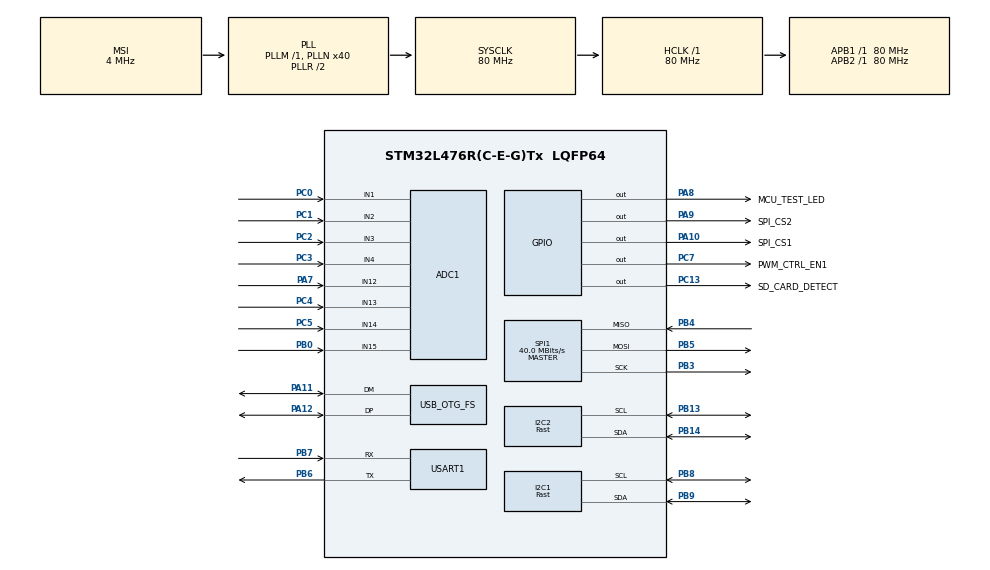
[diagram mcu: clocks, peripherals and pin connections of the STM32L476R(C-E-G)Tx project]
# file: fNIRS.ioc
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ADC1.Channel-0\#ChannelRegularConversion=ADC_CHANNEL_15
ADC1.Channel-10\#ChannelRegularConversion=ADC_CHANNEL_2
ADC1.Channel-4\#ChannelRegularConversion=ADC_CHANNEL_14
ADC1.Channel-5\#ChannelRegularConversion=ADC_CHANNEL_13
ADC1.Channel-6\#ChannelRegularConversion=ADC_CHANNEL_12
ADC1.Channel-7\#ChannelRegularConversion=ADC_CHANNEL_4
ADC1.Channel-8\#ChannelRegularConversion=ADC_CHANNEL_3
ADC1.Channel-9\#ChannelRegularConversion=ADC_CHANNEL_1
ADC1.ContinuousConvMode=DISABLE
ADC1.DMAContinuousRequests=ENABLE
ADC1.EOCSelection=ADC_EOC_SEQ_CONV
ADC1.ExternalTrigConv=ADC_EXTERNALTRIG_T3_TRGO
ADC1.NbrOfConversion=8
ADC1.NbrOfConversionFlag=1
ADC1.OffsetNumber-0\#ChannelRegularConversion=ADC_OFFSET_NONE
ADC1.OffsetNumber-10\#ChannelRegularConversion=ADC_OFFSET_NONE
ADC1.OffsetNumber-4\#ChannelRegularConversion=ADC_OFFSET_NONE
ADC1.OffsetNumber-5\#ChannelRegularConversion=ADC_OFFSET_NONE
ADC1.OffsetNumber-6\#ChannelRegularConversion=ADC_OFFSET_NONE
ADC1.OffsetNumber-7\#ChannelRegularConversion=ADC_OFFSET_NONE
ADC1.OffsetNumber-8\#ChannelRegularConversion=ADC_OFFSET_NONE
ADC1.OffsetNumber-9\#ChannelRegularConversion=ADC_OFFSET_NONE
ADC1.Overrun=ADC_OVR_DATA_PRESERVED
ADC1.Rank-0\#ChannelRegularConversion=1
ADC1.Rank-10\#ChannelRegularConversion=8
ADC1.Rank-4\#ChannelRegularConversion=2
ADC1.Rank-5\#ChannelRegularConversion=3
ADC1.Rank-6\#ChannelRegularConversion=4
ADC1.Rank-7\#ChannelRegularConversion=5
ADC1.Rank-8\#ChannelRegularConversion=6
ADC1.Rank-9\#ChannelRegularConversion=7
ADC1.SamplingTime-0\#ChannelRegularConversion=ADC_SAMPLETIME_47CYCLES_5
ADC1.SamplingTime-10\#ChannelRegularConversion=ADC_SAMPLETIME_47CYCLES_5
ADC1.SamplingTime-4\#ChannelRegularConversion=ADC_SAMPLETIME_47CYCLES_5
ADC1.SamplingTime-5\#ChannelRegularConversion=ADC_SAMPLETIME_47CYCLES_5
ADC1.SamplingTime-6\#ChannelRegularConversion=ADC_SAMPLETIME_47CYCLES_5
ADC1.SamplingTime-7\#ChannelRegularConversion=ADC_SAMPLETIME_47CYCLES_5
ADC1.SamplingTime-8\#ChannelRegularConversion=ADC_SAMPLETIME_47CYCLES_5
ADC1.SamplingTime-9\#ChannelRegularConversion=ADC_SAMPLETIME_47CYCLES_5
ADC1.master=1
Dma.ADC1.0.Direction=DMA_PERIPH_TO_MEMORY
Dma.ADC1.0.Instance=DMA1_Channel1
Dma.ADC1.0.MemDataAlignment=DMA_MDATAALIGN_HALFWORD
Dma.ADC1.0.MemInc=DMA_MINC_ENABLE
Dma.ADC1.0.Mode=DMA_CIRCULAR
Dma.ADC1.0.PeriphDataAlignment=DMA_PDATAALIGN_HALFWORD
Dma.ADC1.0.PeriphInc=DMA_PINC_DISABLE
Dma.ADC1.0.Priority=DMA_PRIORITY_HIGH
Dma.Request0=ADC1
I2C1.I2C_Speed_Mode=I2C_Fast
I2C1.Timing=0x00F12981
I2C2.I2C_Speed_Mode=I2C_Fast
I2C2.Timing=0x00F12981
Mcu.Family=STM32L4
Mcu.Name=STM32L476R(C-E-G)Tx
Mcu.Package=LQFP64
NVIC.ADC1_2_IRQn=true\:0\:0\:true\:false\:true\:true\:true\:true
NVIC.DMA1_Channel1_IRQn=true\:0\:0\:true\:false\:true\:false\:true\:true
NVIC.OTG_FS_IRQn=true\:0\:0\:true\:false\:true\:false\:true\:true
NVIC.PriorityGroup=NVIC_PRIORITYGROUP_4
NVIC.TIM4_IRQn=true\:1\:0\:true\:false\:true\:true\:true\:true
PA10.GPIO_Label=SPI_CS1
PA10.Signal=GPIO_Output
PA11.Mode=Device_Only
PA11.Signal=USB_OTG_FS_DM
PA12.Mode=Device_Only
PA12.Signal=USB_OTG_FS_DP
PA13\ (JTMS-SWDIO).Mode=Serial_Wire
PA13\ (JTMS-SWDIO).Signal=SYS_JTMS-SWDIO
PA14\ (JTCK-SWCLK).Mode=Serial_Wire
PA14\ (JTCK-SWCLK).Signal=SYS_JTCK-SWCLK
PA7.Signal=ADCx_IN12
PA8.GPIO_Label=MCU_TEST_LED
PA8.Signal=GPIO_Output
PA9.GPIO_Label=SPI_CS2
PA9.Signal=GPIO_Output
PB0.Signal=ADCx_IN15
PB13.Mode=I2C
PB13.Signal=I2C2_SCL
PB14.Mode=I2C
PB14.Signal=I2C2_SDA
PB3\ (JTDO-TRACESWO).Mode=Full_Duplex_Master
PB3\ (JTDO-TRACESWO).Signal=SPI1_SCK
PB4\ (NJTRST).Mode=Full_Duplex_Master
PB4\ (NJTRST).Signal=SPI1_MISO
PB5.Mode=Full_Duplex_Master
PB5.Signal=SPI1_MOSI
PB6.Mode=Asynchronous
PB6.Signal=USART1_TX
PB7.Mode=Asynchronous
PB7.Signal=USART1_RX
PB8.Mode=I2C
PB8.Signal=I2C1_SCL
PB9.Mode=I2C
PB9.Signal=I2C1_SDA
PC0.Signal=ADCx_IN1
PC1.Signal=ADCx_IN2
PC13.GPIO_Label=SD_CARD_DETECT
PC13.Signal=GPIO_Output
PC2.Signal=ADCx_IN3
PC3.Signal=ADCx_IN4
PC4.Signal=ADCx_IN13
PC5.Signal=ADCx_IN14
PC7.GPIO_Label=PWM_CTRL_EN1
PC7.GPIO_ModeDefaultOutputPP=GPIO_MODE_OUTPUT_PP
PC7.Signal=GPIO_Output
ProjectManager.HeapSize=0x200
ProjectManager.StackSize=0x400
ProjectManager.TargetToolchain=STM32CubeIDE
RCC.ADCFreq_Value=48000000
RCC.AHBFreq_Value=80000000
RCC.APB1Freq_Value=80000000
RCC.APB1TimFreq_Value=80000000
RCC.APB2Freq_Value=80000000
RCC.APB2TimFreq_Value=80000000
RCC.CortexFreq_Value=80000000
RCC.HCLKFreq_Value=80000000
RCC.HSE_VALUE=8000000
RCC.HSI_VALUE=16000000
RCC.LSE_VALUE=32768
RCC.MSI_VALUE=4000000
RCC.PLLN=40
RCC.PLLSAI1N=24
RCC.SYSCLKFreq_VALUE=80000000
RCC.SYSCLKSource=RCC_SYSCLKSOURCE_PLLCLK
RCC.USBFreq_Value=48000000
RCC.VCOOutputFreq_Value=160000000
SH.ADCx_IN1.0=ADC1_IN1,IN1-Single-Ended
SH.ADCx_IN12.0=ADC1_IN12,IN12-Single-Ended
SH.ADCx_IN13.0=ADC1_IN13,IN13-Single-Ended
SH.ADCx_IN14.0=ADC1_IN14,IN14-Single-Ended
SH.ADCx_IN15.0=ADC1_IN15,IN15-Single-Ended
SH.ADCx_IN2.0=ADC1_IN2,IN2-Single-Ended
SH.ADCx_IN3.0=ADC1_IN3,IN3-Single-Ended
SH.ADCx_IN4.0=ADC1_IN4,IN4-Single-Ended
SPI1.CalculateBaudRate=40.0 MBits/s
SPI1.Direction=SPI_DIRECTION_2LINES
SPI1.Mode=SPI_MODE_MASTER
SPI1.VirtualType=VM_MASTER
TIM3.AutoReloadPreload=TIM_AUTORELOAD_PRELOAD_ENABLE
TIM3.Period=15999
TIM3.Prescaler=0
TIM3.TIM_MasterOutputTrigger=TIM_TRGO_UPDATE
TIM4.AutoReloadPreload=TIM_AUTORELOAD_PRELOAD_ENABLE
TIM4.Period=99
TIM4.Prescaler=7999
TIM4.TIM_MasterOutputTrigger=TIM_TRGO_RESET
USART1.VirtualMode-Asynchronous=VM_ASYNC
USB_DEVICE.CLASS_NAME_FS=CDC
USB_DEVICE.VirtualMode=Cdc
USB_DEVICE.VirtualModeFS=Cdc_FS
USB_OTG_FS.VirtualMode=Device_Only
VP_TIM3_VS_ClockSourceINT.Mode=Internal
VP_TIM4_VS_ClockSourceINT.Mode=Internal
VP_USB_DEVICE_VS_USB_DEVICE_CDC_FS.Mode=CDC_FS
board=custom

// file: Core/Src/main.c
/* USER CODE BEGIN Header */
/**
  ******************************************************************************
  * @file           : main.c
  * @brief          : Main program body
  ******************************************************************************
  * @attention
  *
  * Copyright (c) 2024 STMicroelectronics.
  * All rights reserved.
  *
  * This software is licensed under terms that can be found in the LICENSE file
  * in the root directory of this software component.
  * If no LICENSE file comes with this software, it is provided AS-IS.
  *
  ******************************************************************************
  */
/* USER CODE END Header */
#include "main.h"
#include "usb_device.h"

/* USER CODE BEGIN Includes */
#include "mux_control.h"
#include "emitter_control.h"
#include "sensing.h"
#include "usbd_cdc_if.h"
#include "misc.h"
#include "serial_interface.h"

/* USER CODE END Includes */

ADC_HandleTypeDef hadc1;
DMA_HandleTypeDef hdma_adc1;

I2C_HandleTypeDef hi2c1;
I2C_HandleTypeDef hi2c2;

SPI_HandleTypeDef hspi1;

TIM_HandleTypeDef htim3;
TIM_HandleTypeDef htim4;

UART_HandleTypeDef huart1;

void SystemClock_Config(void);
void PeriphCommonClock_Config(void);
static void MX_GPIO_Init(void);
static void MX_DMA_Init(void);
static void MX_ADC1_Init(void);
static void MX_I2C1_Init(void);
static void MX_I2C2_Init(void);
static void MX_SPI1_Init(void);
static void MX_USART1_UART_Init(void);
static void MX_TIM3_Init(void);
static void MX_TIM4_Init(void);

/* USER CODE BEGIN 0 */
uint8_t usb_receive_buffer[64];
/* USER CODE END 0 */

int main(void)
{

  /* MCU Configuration--------------------------------------------------------*/

  /* Reset of all peripherals, Initializes the Flash interface and the Systick. */
  HAL_Init();

  /* Configure the system clock */
  SystemClock_Config();

  /* Configure the peripherals common clocks */
  PeriphCommonClock_Config();

  /* Initialize all configured peripherals */
  MX_GPIO_Init();
  MX_DMA_Init();
  MX_ADC1_Init();
  MX_I2C1_Init();
  MX_I2C2_Init();
  MX_SPI1_Init();
  MX_USART1_UART_Init();
  MX_USB_DEVICE_Init();
  MX_TIM3_Init();
  MX_TIM4_Init();
  /* USER CODE BEGIN 2 */

  mux_control_init(&hi2c1);
  emitter_control_init(&hi2c2);
  sensing_init(&hadc1);

  mux_control_enable_sequencer();
  emitter_control_enable();
  emitter_control_request_operating_mode(CYCLING);

  HAL_TIM_Base_Start(&htim3);
  HAL_TIM_Base_Start_IT(&htim4);

  /* USER CODE END 2 */

  /* Infinite loop */
  while (1)
  {

    /* USER CODE BEGIN 3 */
    mux_control_sequencer();
    emitter_control_state_machine();
    serial_interface_rx_parse_data(usb_receive_buffer);

    if (serial_interface_rx_get_user_emitter_control_override_enable())
    {
      emitter_control_state_E override_state = serial_interface_rx_get_emitter_control_state();
      emitter_control_request_operating_mode(override_state);
    }
    else
    {
       emitter_control_request_operating_mode(CYCLING);
    }

    if (serial_interface_rx_get_user_mux_control_override_enable())
    {
      mux_control_enable_sequencer_override();
      mux_control_set_input_channel_ovr(serial_interface_rx_get_user_mux_control_state());
    }
    else
    {
      mux_control_disable_sequencer_override();
    }

    misc_toggle_led_periodic(3);
    // misc_write_to_uart_port_periodic(&huart1, "fNIRS ECU is here\n", 1);
  }

  /* USER CODE END 3 */
}

void SystemClock_Config(void)
{
  RCC_OscInitTypeDef RCC_OscInitStruct = {0};
  RCC_ClkInitTypeDef RCC_ClkInitStruct = {0};

  /** Configure the main internal regulator output voltage
  */
  if (HAL_PWREx_ControlVoltageScaling(PWR_REGULATOR_VOLTAGE_SCALE1) != HAL_OK)
  {
    Error_Handler();
  }

  /** Initializes the RCC Oscillators according to the specified parameters
  * in the RCC_OscInitTypeDef structure.
  */
  RCC_OscInitStruct.OscillatorType = RCC_OSCILLATORTYPE_MSI;
  RCC_OscInitStruct.MSIState = RCC_MSI_ON;
  RCC_OscInitStruct.MSICalibrationValue = 0;
  RCC_OscInitStruct.MSIClockRange = RCC_MSIRANGE_6;
  RCC_OscInitStruct.PLL.PLLState = RCC_PLL_ON;
  RCC_OscInitStruct.PLL.PLLSource = RCC_PLLSOURCE_MSI;
  RCC_OscInitStruct.PLL.PLLM = 1;
  RCC_OscInitStruct.PLL.PLLN = 40;
  RCC_OscInitStruct.PLL.PLLP = RCC_PLLP_DIV7;
  RCC_OscInitStruct.PLL.PLLQ = RCC_PLLQ_DIV2;
  RCC_OscInitStruct.PLL.PLLR = RCC_PLLR_DIV2;
  if (HAL_RCC_OscConfig(&RCC_OscInitStruct) != HAL_OK)
  {
    Error_Handler();
  }

  /** Initializes the CPU, AHB and APB buses clocks
  */
  RCC_ClkInitStruct.ClockType = RCC_CLOCKTYPE_HCLK|RCC_CLOCKTYPE_SYSCLK
                              |RCC_CLOCKTYPE_PCLK1|RCC_CLOCKTYPE_PCLK2;
  RCC_ClkInitStruct.SYSCLKSource = RCC_SYSCLKSOURCE_PLLCLK;
  RCC_ClkInitStruct.AHBCLKDivider = RCC_SYSCLK_DIV1;
  RCC_ClkInitStruct.APB1CLKDivider = RCC_HCLK_DIV1;
  RCC_ClkInitStruct.APB2CLKDivider = RCC_HCLK_DIV1;

  if (HAL_RCC_ClockConfig(&RCC_ClkInitStruct, FLASH_LATENCY_4) != HAL_OK)
  {
    Error_Handler();
  }
}

void PeriphCommonClock_Config(void)
{
  RCC_PeriphCLKInitTypeDef PeriphClkInit = {0};

  /** Initializes the peripherals clock
  */
  PeriphClkInit.PeriphClockSelection = RCC_PERIPHCLK_USB|RCC_PERIPHCLK_ADC;
  PeriphClkInit.AdcClockSelection = RCC_ADCCLKSOURCE_PLLSAI1;
  PeriphClkInit.UsbClockSelection = RCC_USBCLKSOURCE_PLLSAI1;
  PeriphClkInit.PLLSAI1.PLLSAI1Source = RCC_PLLSOURCE_MSI;
  PeriphClkInit.PLLSAI1.PLLSAI1M = 1;
  PeriphClkInit.PLLSAI1.PLLSAI1N = 24;
  PeriphClkInit.PLLSAI1.PLLSAI1P = RCC_PLLP_DIV7;
  PeriphClkInit.PLLSAI1.PLLSAI1Q = RCC_PLLQ_DIV2;
  PeriphClkInit.PLLSAI1.PLLSAI1R = RCC_PLLR_DIV2;
  PeriphClkInit.PLLSAI1.PLLSAI1ClockOut = RCC_PLLSAI1_48M2CLK|RCC_PLLSAI1_ADC1CLK;
  if (HAL_RCCEx_PeriphCLKConfig(&PeriphClkInit) != HAL_OK)
  {
    Error_Handler();
  }
}

static void MX_ADC1_Init(void)
{

  ADC_MultiModeTypeDef multimode = {0};
  ADC_ChannelConfTypeDef sConfig = {0};

  /** Common config
  */
  hadc1.Instance = ADC1;
  hadc1.Init.ClockPrescaler = ADC_CLOCK_ASYNC_DIV1;
  hadc1.Init.Resolution = ADC_RESOLUTION_12B;
  hadc1.Init.DataAlign = ADC_DATAALIGN_RIGHT;
  hadc1.Init.ScanConvMode = ADC_SCAN_ENABLE;
  hadc1.Init.EOCSelection = ADC_EOC_SEQ_CONV;
  hadc1.Init.LowPowerAutoWait = DISABLE;
  hadc1.Init.ContinuousConvMode = DISABLE;
  hadc1.Init.NbrOfConversion = 8;
  hadc1.Init.DiscontinuousConvMode = DISABLE;
  hadc1.Init.ExternalTrigConv = ADC_EXTERNALTRIG_T3_TRGO;
  hadc1.Init.ExternalTrigConvEdge = ADC_EXTERNALTRIGCONVEDGE_RISING;
  hadc1.Init.DMAContinuousRequests = ENABLE;
  hadc1.Init.Overrun = ADC_OVR_DATA_PRESERVED;
  hadc1.Init.OversamplingMode = DISABLE;
  if (HAL_ADC_Init(&hadc1) != HAL_OK)
  {
    Error_Handler();
  }

  /** Configure the ADC multi-mode
  */
  multimode.Mode = ADC_MODE_INDEPENDENT;
  if (HAL_ADCEx_MultiModeConfigChannel(&hadc1, &multimode) != HAL_OK)
  {
    Error_Handler();
  }

  /** Configure Regular Channel
  */
  sConfig.Channel = ADC_CHANNEL_15;
  sConfig.Rank = ADC_REGULAR_RANK_1;
  sConfig.SamplingTime = ADC_SAMPLETIME_47CYCLES_5;
  sConfig.SingleDiff = ADC_SINGLE_ENDED;
  sConfig.OffsetNumber = ADC_OFFSET_NONE;
  sConfig.Offset = 0;
  if (HAL_ADC_ConfigChannel(&hadc1, &sConfig) != HAL_OK)
  {
    Error_Handler();
  }

  /** Configure Regular Channel
  */
  sConfig.Channel = ADC_CHANNEL_14;
  sConfig.Rank = ADC_REGULAR_RANK_2;
  if (HAL_ADC_ConfigChannel(&hadc1, &sConfig) != HAL_OK)
  {
    Error_Handler();
  }

  /** Configure Regular Channel
  */
  sConfig.Channel = ADC_CHANNEL_13;
  sConfig.Rank = ADC_REGULAR_RANK_3;
  if (HAL_ADC_ConfigChannel(&hadc1, &sConfig) != HAL_OK)
  {
    Error_Handler();
  }

  /** Configure Regular Channel
  */
  sConfig.Channel = ADC_CHANNEL_12;
  sConfig.Rank = ADC_REGULAR_RANK_4;
  if (HAL_ADC_ConfigChannel(&hadc1, &sConfig) != HAL_OK)
  {
    Error_Handler();
  }

  /** Configure Regular Channel
  */
  sConfig.Channel = ADC_CHANNEL_4;
  sConfig.Rank = ADC_REGULAR_RANK_5;
  if (HAL_ADC_ConfigChannel(&hadc1, &sConfig) != HAL_OK)
  {
    Error_Handler();
  }

  /** Configure Regular Channel
  */
  sConfig.Channel = ADC_CHANNEL_3;
  sConfig.Rank = ADC_REGULAR_RANK_6;
  if (HAL_ADC_ConfigChannel(&hadc1, &sConfig) != HAL_OK)
  {
    Error_Handler();
  }

  /** Configure Regular Channel
  */
  sConfig.Channel = ADC_CHANNEL_1;
  sConfig.Rank = ADC_REGULAR_RANK_7;
  if (HAL_ADC_ConfigChannel(&hadc1, &sConfig) != HAL_OK)
  {
    Error_Handler();
  }

  /** Configure Regular Channel
  */
  sConfig.Channel = ADC_CHANNEL_2;
  sConfig.Rank = ADC_REGULAR_RANK_8;
  if (HAL_ADC_ConfigChannel(&hadc1, &sConfig) != HAL_OK)
  {
    Error_Handler();
  }

}

static void MX_I2C1_Init(void)
{

  hi2c1.Instance = I2C1;
  hi2c1.Init.Timing = 0x00F12981;
  hi2c1.Init.OwnAddress1 = 0;
  hi2c1.Init.AddressingMode = I2C_ADDRESSINGMODE_7BIT;
  hi2c1.Init.DualAddressMode = I2C_DUALADDRESS_DISABLE;
  hi2c1.Init.OwnAddress2 = 0;
  hi2c1.Init.OwnAddress2Masks = I2C_OA2_NOMASK;
  hi2c1.Init.GeneralCallMode = I2C_GENERALCALL_DISABLE;
  hi2c1.Init.NoStretchMode = I2C_NOSTRETCH_DISABLE;
  if (HAL_I2C_Init(&hi2c1) != HAL_OK)
  {
    Error_Handler();
  }

  /** Configure Analogue filter
  */
  if (HAL_I2CEx_ConfigAnalogFilter(&hi2c1, I2C_ANALOGFILTER_ENABLE) != HAL_OK)
  {
    Error_Handler();
  }

  /** Configure Digital filter
  */
  if (HAL_I2CEx_ConfigDigitalFilter(&hi2c1, 0) != HAL_OK)
  {
    Error_Handler();
  }

}

static void MX_I2C2_Init(void)
{

  hi2c2.Instance = I2C2;
  hi2c2.Init.Timing = 0x00F12981;
  hi2c2.Init.OwnAddress1 = 0;
  hi2c2.Init.AddressingMode = I2C_ADDRESSINGMODE_7BIT;
  hi2c2.Init.DualAddressMode = I2C_DUALADDRESS_DISABLE;
  hi2c2.Init.OwnAddress2 = 0;
  hi2c2.Init.OwnAddress2Masks = I2C_OA2_NOMASK;
  hi2c2.Init.GeneralCallMode = I2C_GENERALCALL_DISABLE;
  hi2c2.Init.NoStretchMode = I2C_NOSTRETCH_DISABLE;
  if (HAL_I2C_Init(&hi2c2) != HAL_OK)
  {
    Error_Handler();
  }

  /** Configure Analogue filter
  */
  if (HAL_I2CEx_ConfigAnalogFilter(&hi2c2, I2C_ANALOGFILTER_ENABLE) != HAL_OK)
  {
    Error_Handler();
  }

  /** Configure Digital filter
  */
  if (HAL_I2CEx_ConfigDigitalFilter(&hi2c2, 0) != HAL_OK)
  {
    Error_Handler();
  }

}

static void MX_SPI1_Init(void)
{

  /* SPI1 parameter configuration*/
  hspi1.Instance = SPI1;
  hspi1.Init.Mode = SPI_MODE_MASTER;
  hspi1.Init.Direction = SPI_DIRECTION_2LINES;
  hspi1.Init.DataSize = SPI_DATASIZE_4BIT;
  hspi1.Init.CLKPolarity = SPI_POLARITY_LOW;
  hspi1.Init.CLKPhase = SPI_PHASE_1EDGE;
  hspi1.Init.NSS = SPI_NSS_SOFT;
  hspi1.Init.BaudRatePrescaler = SPI_BAUDRATEPRESCALER_2;
  hspi1.Init.FirstBit = SPI_FIRSTBIT_MSB;
  hspi1.Init.TIMode = SPI_TIMODE_DISABLE;
  hspi1.Init.CRCCalculation = SPI_CRCCALCULATION_DISABLE;
  hspi1.Init.CRCPolynomial = 7;
  hspi1.Init.CRCLength = SPI_CRC_LENGTH_DATASIZE;
  hspi1.Init.NSSPMode = SPI_NSS_PULSE_ENABLE;
  if (HAL_SPI_Init(&hspi1) != HAL_OK)
  {
    Error_Handler();
  }

}

static void MX_TIM3_Init(void)
{

  TIM_ClockConfigTypeDef sClockSourceConfig = {0};
  TIM_MasterConfigTypeDef sMasterConfig = {0};

  htim3.Instance = TIM3;
  htim3.Init.Prescaler = 0;
  htim3.Init.CounterMode = TIM_COUNTERMODE_UP;
  htim3.Init.Period = 15999;
  htim3.Init.ClockDivision = TIM_CLOCKDIVISION_DIV1;
  htim3.Init.AutoReloadPreload = TIM_AUTORELOAD_PRELOAD_ENABLE;
  if (HAL_TIM_Base_Init(&htim3) != HAL_OK)
  {
    Error_Handler();
  }
  sClockSourceConfig.ClockSource = TIM_CLOCKSOURCE_INTERNAL;
  if (HAL_TIM_ConfigClockSource(&htim3, &sClockSourceConfig) != HAL_OK)
  {
    Error_Handler();
  }
  sMasterConfig.MasterOutputTrigger = TIM_TRGO_UPDATE;
  sMasterConfig.MasterSlaveMode = TIM_MASTERSLAVEMODE_DISABLE;
  if (HAL_TIMEx_MasterConfigSynchronization(&htim3, &sMasterConfig) != HAL_OK)
  {
    Error_Handler();
  }

}

static void MX_TIM4_Init(void)
{

  TIM_ClockConfigTypeDef sClockSourceConfig = {0};
  TIM_MasterConfigTypeDef sMasterConfig = {0};

  htim4.Instance = TIM4;
  htim4.Init.Prescaler = 7999;
  htim4.Init.CounterMode = TIM_COUNTERMODE_UP;
  htim4.Init.Period = 99;
  htim4.Init.ClockDivision = TIM_CLOCKDIVISION_DIV1;
  htim4.Init.AutoReloadPreload = TIM_AUTORELOAD_PRELOAD_ENABLE;
  if (HAL_TIM_Base_Init(&htim4) != HAL_OK)
  {
    Error_Handler();
  }
  sClockSourceConfig.ClockSource = TIM_CLOCKSOURCE_INTERNAL;
  if (HAL_TIM_ConfigClockSource(&htim4, &sClockSourceConfig) != HAL_OK)
  {
    Error_Handler();
  }
  sMasterConfig.MasterOutputTrigger = TIM_TRGO_RESET;
  sMasterConfig.MasterSlaveMode = TIM_MASTERSLAVEMODE_DISABLE;
  if (HAL_TIMEx_MasterConfigSynchronization(&htim4, &sMasterConfig) != HAL_OK)
  {
    Error_Handler();
  }

}

static void MX_USART1_UART_Init(void)
{

  huart1.Instance = USART1;
  huart1.Init.BaudRate = 115200;
  huart1.Init.WordLength = UART_WORDLENGTH_8B;
  huart1.Init.StopBits = UART_STOPBITS_1;
  huart1.Init.Parity = UART_PARITY_NONE;
  huart1.Init.Mode = UART_MODE_TX_RX;
  huart1.Init.HwFlowCtl = UART_HWCONTROL_NONE;
  huart1.Init.OverSampling = UART_OVERSAMPLING_16;
  huart1.Init.OneBitSampling = UART_ONE_BIT_SAMPLE_DISABLE;
  huart1.AdvancedInit.AdvFeatureInit = UART_ADVFEATURE_NO_INIT;
  if (HAL_UART_Init(&huart1) != HAL_OK)
  {
    Error_Handler();
  }

}

static void MX_DMA_Init(void)
{

  /* DMA controller clock enable */
  __HAL_RCC_DMA1_CLK_ENABLE();

  /* DMA interrupt init */
  /* DMA1_Channel1_IRQn interrupt configuration */
  HAL_NVIC_SetPriority(DMA1_Channel1_IRQn, 0, 0);
  HAL_NVIC_EnableIRQ(DMA1_Channel1_IRQn);

}

static void MX_GPIO_Init(void)
{
  GPIO_InitTypeDef GPIO_InitStruct = {0};

  /* GPIO Ports Clock Enable */
  __HAL_RCC_GPIOC_CLK_ENABLE();
  __HAL_RCC_GPIOA_CLK_ENABLE();
  __HAL_RCC_GPIOB_CLK_ENABLE();

  /*Configure GPIO pin Output Level */
  HAL_GPIO_WritePin(GPIOC, SD_CARD_DETECT_Pin|PWM_CTRL_EN1_Pin, GPIO_PIN_RESET);

  /*Configure GPIO pin Output Level */
  HAL_GPIO_WritePin(GPIOA, MCU_TEST_LED_Pin|SPI_CS2_Pin|SPI_CS1_Pin, GPIO_PIN_RESET);

  /*Configure GPIO pins : SD_CARD_DETECT_Pin PWM_CTRL_EN1_Pin */
  GPIO_InitStruct.Pin = SD_CARD_DETECT_Pin|PWM_CTRL_EN1_Pin;
  GPIO_InitStruct.Mode = GPIO_MODE_OUTPUT_PP;
  GPIO_InitStruct.Pull = GPIO_NOPULL;
  GPIO_InitStruct.Speed = GPIO_SPEED_FREQ_LOW;
  HAL_GPIO_Init(GPIOC, &GPIO_InitStruct);

  /*Configure GPIO pins : MCU_TEST_LED_Pin SPI_CS2_Pin SPI_CS1_Pin */
  GPIO_InitStruct.Pin = MCU_TEST_LED_Pin|SPI_CS2_Pin|SPI_CS1_Pin;
  GPIO_InitStruct.Mode = GPIO_MODE_OUTPUT_PP;
  GPIO_InitStruct.Pull = GPIO_NOPULL;
  GPIO_InitStruct.Speed = GPIO_SPEED_FREQ_LOW;
  HAL_GPIO_Init(GPIOA, &GPIO_InitStruct);

}

void Error_Handler(void)
{
  __disable_irq();
  while (1)
  {
  }
}
